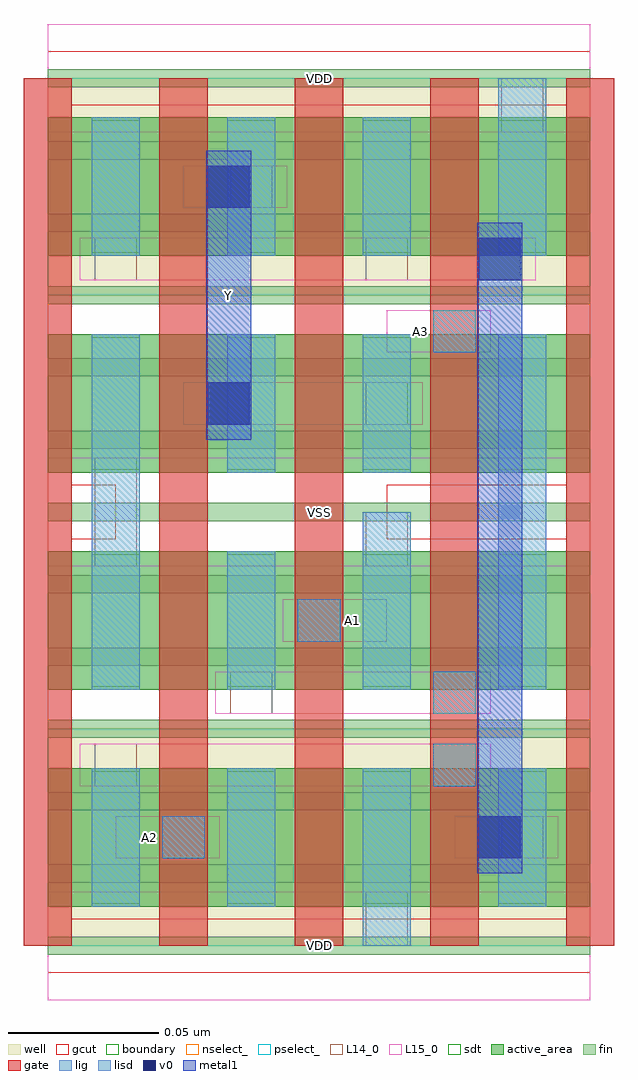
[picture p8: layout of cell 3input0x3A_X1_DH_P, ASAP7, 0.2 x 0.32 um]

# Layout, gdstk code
import gdstk
lib = gdstk.Library(unit=1e-6, precision=2.5e-10)
def R(c, l, rs):  # rectangles x0, y0, x1, y1
    for r in rs: c.add(gdstk.rectangle(r[:2], r[2:], *l))
def A(c, l, x, y, w, h, nx, ny, dx, dy):  # array of equal rectangles
    R(c, l, [(x+i*dx, y+j*dy, x+i*dx+w, y+j*dy+h) for i in range(nx) for j in range(ny)])
def P(c, l, *ps):  # polygons
    for p in ps: c.add(gdstk.Polygon(p, *l))
well = (1, 0)
fin = (2, 0)
gate = (7, 0)
gcut = (10, 0)
active_area = (11, 0)
nselect_ = (12, 0)
pselect_ = (13, 0)
L14_0 = (14, 0)
L15_0 = (15, 0)
lig = (16, 0)
lisd = (17, 0)
v0 = (18, 0)
metal1 = (19, 0)
sdt = (88, 0)
boundary = (100, 0)

c_3input0x3a_x1_dh_p = lib.new_cell('3input0x3A_X1_DH_P')
R(c_3input0x3a_x1_dh_p, well, [(0,0,0.18,0.072), (0,0.216,0.18,0.288)])
A(c_3input0x3a_x1_dh_p, fin, 0, -0.003, 0.18, 0.006, 1, 13, 0, 0.024)
A(c_3input0x3a_x1_dh_p, gate, -0.008, 0, 0.016, 0.288, 5, 1, 0.045, 0)
P(c_3input0x3a_x1_dh_p, gcut, [(0,-0.009),(0,0),(-0.008,0),(-0.008,0.279),(0.008,0.279),(0.008,0.153),(0.0225,0.153),(0.0225,0.135),(0.008,0.135),(0.008,0.009),(0.172,0.009),(0.172,0.135),(0.1125,0.135),(0.1125,0.153),(0.172,0.153),(0.172,0.279),(-0.008,0.279),(-0.008,0.288),(0,0.288),(0,0.297),(0.18,0.297),(0.18,0.288),(0.188,0.288),(0.188,0),(0.18,0),(0.18,-0.009)])
A(c_3input0x3a_x1_dh_p, active_area, 0, 0.013, 0.18, 0.046, 1, 4, 0, 0.072)
R(c_3input0x3a_x1_dh_p, nselect_, [(0,0.072,0.18,0.144), (0,0.144,0.18,0.216)])
R(c_3input0x3a_x1_dh_p, pselect_, [(0,0,0.18,0.072), (0,0.216,0.18,0.288)])
R(c_3input0x3a_x1_dh_p, L14_0, [(0.1055,0,0.1195,0.018), (0.038,0.029,0.052,0.043), (0.1505,0.029,0.1645,0.043), (0.0155,0.053,0.0295,0.067), (0.128,0.053,0.142,0.067), (0.0605,0.077,0.0745,0.091), (0.128,0.077,0.142,0.091), (0.083,0.101,0.097,0.115), (0.0155,0.126,0.0295,0.144), (0.1055,0.126,0.1195,0.144), (0.0155,0.144,0.0295,0.162), (0.1055,0.173,0.1195,0.187), (0.128,0.197,0.142,0.211), (0.0155,0.221,0.0295,0.235), (0.1055,0.221,0.1195,0.235), (0.0605,0.245,0.0745,0.259), (0.1505,0.27,0.1645,0.288)])
A(c_3input0x3a_x1_dh_p, L15_0, 0, -0.018, 0.18, 0.036, 1, 3, 0, 0.144)
R(c_3input0x3a_x1_dh_p, L15_0, [(0.0225,0.029,0.057,0.043), (0.135,0.029,0.1695,0.043), (0.0105,0.053,0.147,0.067), (0.0555,0.077,0.147,0.091), (0.078,0.101,0.1125,0.115), (0.045,0.173,0.1245,0.187), (0.1125,0.197,0.147,0.211), (0.0105,0.221,0.162,0.235), (0.045,0.245,0.0795,0.259)])
R(c_3input0x3a_x1_dh_p, lig, [(0.038,0.029,0.052,0.043), (0.128,0.053,0.142,0.067), (0.128,0.077,0.142,0.091), (0.083,0.101,0.097,0.115), (0.128,0.197,0.142,0.211)])
A(c_3input0x3a_x1_dh_p, lisd, 0.0595, 0.013, 0.016, 0.046, 1, 3, 0, 0.072)
A(c_3input0x3a_x1_dh_p, lisd, 0.0145, 0.229, 0.016, 0.046, 3, 1, 0.045, 0)
R(c_3input0x3a_x1_dh_p, lisd, [(0.1045,0,0.1205,0.059), (0.0145,0.013,0.0305,0.059), (0.1495,0.013,0.1655,0.059), (0.0145,0.085,0.0305,0.203), (0.1045,0.085,0.1205,0.144), (0.1495,0.085,0.1655,0.203), (0.1045,0.157,0.1205,0.203), (0.1495,0.229,0.1655,0.288)])
R(c_3input0x3a_x1_dh_p, v0, [(0.143,0.029,0.157,0.043), (0.053,0.173,0.067,0.187), (0.143,0.221,0.157,0.235), (0.053,0.245,0.067,0.259)])
R(c_3input0x3a_x1_dh_p, metal1, [(0.1425,0.024,0.1575,0.24), (0.0525,0.168,0.0675,0.264)])
A(c_3input0x3a_x1_dh_p, sdt, 0.0145, 0.014, 0.016, 0.044, 4, 4, 0.045, 0.072)
R(c_3input0x3a_x1_dh_p, boundary, [(0,0,0.18,0.288)])
c_3input0x3a_x1_dh_p.add(gdstk.Label('A2', (0.0338,0.036), layer=15, texttype=251))
c_3input0x3a_x1_dh_p.add(gdstk.Label('VDD', (0.09,0), layer=15, texttype=251))
c_3input0x3a_x1_dh_p.add(gdstk.Label('VSS', (0.09,0.144), layer=15, texttype=251))
c_3input0x3a_x1_dh_p.add(gdstk.Label('VSS', (0.09,0.144), layer=15, texttype=251))
c_3input0x3a_x1_dh_p.add(gdstk.Label('VDD', (0.09,0.288), layer=15, texttype=251))
c_3input0x3a_x1_dh_p.add(gdstk.Label('VDD', (0.09,0), layer=15, texttype=251))
c_3input0x3a_x1_dh_p.add(gdstk.Label('VSS', (0.09,0.144), layer=15, texttype=251))
c_3input0x3a_x1_dh_p.add(gdstk.Label('VSS', (0.09,0.144), layer=15, texttype=251))
c_3input0x3a_x1_dh_p.add(gdstk.Label('VDD', (0.09,0.288), layer=15, texttype=251))
c_3input0x3a_x1_dh_p.add(gdstk.Label('A3', (0.1238,0.204), layer=15, texttype=251))
c_3input0x3a_x1_dh_p.add(gdstk.Label('VDD', (0.09,0), layer=15, texttype=251))
c_3input0x3a_x1_dh_p.add(gdstk.Label('VSS', (0.09,0.144), layer=15, texttype=251))
c_3input0x3a_x1_dh_p.add(gdstk.Label('VSS', (0.09,0.144), layer=15, texttype=251))
c_3input0x3a_x1_dh_p.add(gdstk.Label('VDD', (0.09,0.288), layer=15, texttype=251))
c_3input0x3a_x1_dh_p.add(gdstk.Label('A1', (0.1013,0.108), layer=15, texttype=251))
c_3input0x3a_x1_dh_p.add(gdstk.Label('VDD', (0.09,0), layer=15, texttype=251))
c_3input0x3a_x1_dh_p.add(gdstk.Label('VSS', (0.09,0.144), layer=15, texttype=251))
c_3input0x3a_x1_dh_p.add(gdstk.Label('VSS', (0.09,0.144), layer=15, texttype=251))
c_3input0x3a_x1_dh_p.add(gdstk.Label('VDD', (0.09,0.288), layer=15, texttype=251))
c_3input0x3a_x1_dh_p.add(gdstk.Label('VSS', (0.09,0.144), layer=3, texttype=251))
c_3input0x3a_x1_dh_p.add(gdstk.Label('VSS', (0.09,0.144), layer=3, texttype=251))
c_3input0x3a_x1_dh_p.add(gdstk.Label('VSS', (0.09,0.144), layer=3, texttype=251))
c_3input0x3a_x1_dh_p.add(gdstk.Label('VSS', (0.09,0.144), layer=3, texttype=251))
c_3input0x3a_x1_dh_p.add(gdstk.Label('VSS', (0.09,0.144), layer=3, texttype=251))
c_3input0x3a_x1_dh_p.add(gdstk.Label('VSS', (0.09,0.144), layer=3, texttype=251))
c_3input0x3a_x1_dh_p.add(gdstk.Label('VSS', (0.09,0.144), layer=3, texttype=251))
c_3input0x3a_x1_dh_p.add(gdstk.Label('VSS', (0.09,0.144), layer=3, texttype=251))
c_3input0x3a_x1_dh_p.add(gdstk.Label('VDD', (0.09,0), layer=1, texttype=251))
c_3input0x3a_x1_dh_p.add(gdstk.Label('VDD', (0.09,0.288), layer=1, texttype=251))
c_3input0x3a_x1_dh_p.add(gdstk.Label('VDD', (0.09,0), layer=1, texttype=251))
c_3input0x3a_x1_dh_p.add(gdstk.Label('VDD', (0.09,0.288), layer=1, texttype=251))
c_3input0x3a_x1_dh_p.add(gdstk.Label('VDD', (0.09,0), layer=1, texttype=251))
c_3input0x3a_x1_dh_p.add(gdstk.Label('VDD', (0.09,0.288), layer=1, texttype=251))
c_3input0x3a_x1_dh_p.add(gdstk.Label('VDD', (0.09,0), layer=1, texttype=251))
c_3input0x3a_x1_dh_p.add(gdstk.Label('VDD', (0.09,0.288), layer=1, texttype=251))
c_3input0x3a_x1_dh_p.add(gdstk.Label('Y', (0.06,0.216), layer=19, texttype=251))

lib.write_gds('3input0x3A_X1_DH_P.gds')
